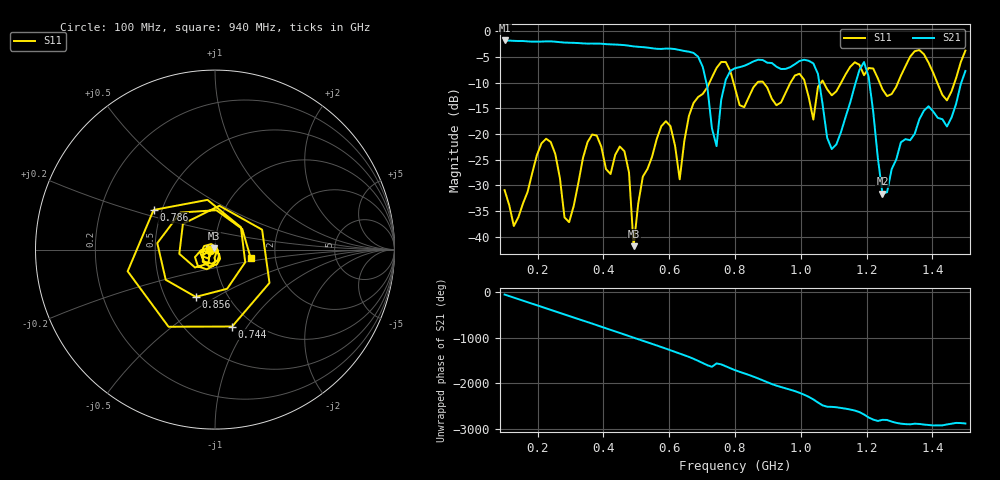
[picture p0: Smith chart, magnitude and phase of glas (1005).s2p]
! NanoVNA-App
! Date: 2025-09-25 16:03:17
! Start: 100MHz Stop: 1,5GHz Points: 101
! S-Parameter data: F S11 S21 S12 S22
# Hz S RI R 50
!  Frequency  S11_Real  S11_Imag  S21_Real  S21_Imag  S12_Real  S12_Imag  S22_Real  S22_Imag
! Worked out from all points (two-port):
!   101 points, 100 MHz to 1.5 GHz, reference 50 ohm
!   highest |S21| = -1.80 dB at 100 MHz (marker M1); lowest = -31.6 dB at 1.248 GHz (marker M2)
!   |S21| within 3 dB of the highest: start of sweep to 684.8 MHz
!   lowest |S11| = -41.8 dB at 492 MHz (marker M3), VSWR 1.02, Z = 49.5 + j0.617 ohm
!   |S11| at or under -10 dB: start of sweep to 722.6 MHz; 795.5 MHz to 868 MHz (72.51 MHz wide, 8.72 % of centre); 886.4 MHz to 968.7 MHz (82.32 MHz wide, 8.88 % of centre) (the widest 3 of 7)
!   S12 and S22 are empty: the file has one direction only
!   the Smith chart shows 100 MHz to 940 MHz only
!   S11 on the Smith chart (normalised r, x): 100 MHz: 0.94, -0.01; 744 MHz: 0.81, -0.86; 786 MHz: 0.45, +0.24; 856 MHz: 0.71, -0.41; 940 MHz: 1.49, -0.14
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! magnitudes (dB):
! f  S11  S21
! 100 MHz  -30.9  -1.8
! 128 MHz  -37.9  -1.9
! 226 MHz  -20.9  -2.0
! 296 MHz  -37.1  -2.2
! 338 MHz  -24.7  -2.4
! 464 MHz  -23.4  -2.7
! 492 MHz  -41.8  -2.9
! 576 MHz  -18.5  -3.5
! 632 MHz  -28.8  -3.7
! 702 MHz  -12.2  -6.9
! 744 MHz  -7.2  -22.4
! 786 MHz  -7.8  -7.7
! 800 MHz  -11.0  -7.2
! 856 MHz  -10.9  -5.9
! 940 MHz  -13.8  -7.4
! 1.038 GHz  -17.2  -6.3
! 1.094 GHz  -12.5  -22.9
! 1.192 GHz  -8.6  -6.0
! 1.248 GHz  -11.3  -31.6
! 1.276 GHz  -12.2  -26.8
! 1.444 GHz  -13.5  -18.5
! 1.5 GHz  -3.8  -7.7
